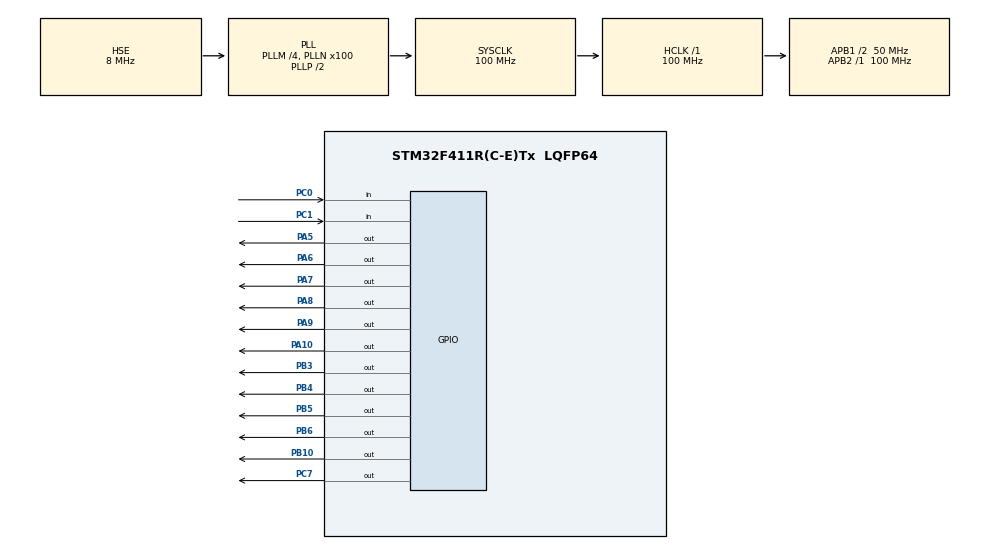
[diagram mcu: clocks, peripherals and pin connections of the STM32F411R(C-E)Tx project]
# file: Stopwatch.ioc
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Mcu.Family=STM32F4
Mcu.Name=STM32F411R(C-E)Tx
Mcu.Package=LQFP64
NVIC.PriorityGroup=NVIC_PRIORITYGROUP_4
PA10.Signal=GPIO_Output
PA5.Signal=GPIO_Output
PA6.Signal=GPIO_Output
PA7.Signal=GPIO_Output
PA8.Signal=GPIO_Output
PA9.Signal=GPIO_Output
PB10.Signal=GPIO_Output
PB3.Signal=GPIO_Output
PB4.Signal=GPIO_Output
PB5.Signal=GPIO_Output
PB6.Signal=GPIO_Output
PC0.Signal=GPIO_Input
PC1.Signal=GPIO_Input
PC7.Signal=GPIO_Output
PH0\ -\ OSC_IN.Mode=HSE-External-Oscillator
PH0\ -\ OSC_IN.Signal=RCC_OSC_IN
PH1\ -\ OSC_OUT.Mode=HSE-External-Oscillator
PH1\ -\ OSC_OUT.Signal=RCC_OSC_OUT
ProjectManager.HeapSize=0x200
ProjectManager.StackSize=0x400
ProjectManager.TargetToolchain=STM32CubeIDE
RCC.48MHZClocksFreq_Value=50000000
RCC.AHBFreq_Value=100000000
RCC.APB1CLKDivider=RCC_HCLK_DIV2
RCC.APB1Freq_Value=50000000
RCC.APB1TimFreq_Value=100000000
RCC.APB2Freq_Value=100000000
RCC.APB2TimFreq_Value=100000000
RCC.CortexFreq_Value=100000000
RCC.HCLKFreq_Value=100000000
RCC.HSE_VALUE=8000000
RCC.HSI_VALUE=16000000
RCC.LSE_VALUE=32768
RCC.PLLM=4
RCC.PLLN=100
RCC.PLLSourceVirtual=RCC_PLLSOURCE_HSE
RCC.SYSCLKFreq_VALUE=100000000
RCC.SYSCLKSource=RCC_SYSCLKSOURCE_PLLCLK
RCC.VCOOutputFreq_Value=200000000
board=custom

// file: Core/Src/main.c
/* USER CODE BEGIN Header */
/**
 ******************************************************************************
 * @file           : main.c
 * @brief          : Main program body
 ******************************************************************************
 * @attention
 *
 * Copyright (c) 2026 STMicroelectronics.
 * All rights reserved.
 *
 * This software is licensed under terms that can be found in the LICENSE file
 * in the root directory of this software component.
 * If no LICENSE file comes with this software, it is provided AS-IS.
 *
 ******************************************************************************
 */
/* USER CODE END Header */
#include "main.h"

/* USER CODE BEGIN Includes */

#include "driver/fnd/fnd.h"

/* USER CODE END Includes */

/* USER CODE BEGIN PD */

#define STOP	0
#define RUN		1
#define CLEAR	2

#define RUN_STOP_GPIO	GPIOC
#define RUN_STOP_PIN	GPIO_PIN_0
#define CLEAR_GPIO		GPIOC
#define CLEAR_PIN		GPIO_PIN_1

/* USER CODE END PD */

void SystemClock_Config(void);
static void MX_GPIO_Init(void);

int main(void) {

	/* MCU Configuration--------------------------------------------------------*/

	/* Reset of all peripherals, Initializes the Flash interface and the Systick. */
	HAL_Init();

	/* Configure the system clock */
	SystemClock_Config();

	/* Initialize all configured peripherals */
	MX_GPIO_Init();

	/* Infinite loop */
	/* USER CODE BEGIN WHILE */
	uint16_t counter = 0;
	uint32_t prevTime = 0;

	int state = STOP;

	while (1) {
		fnd_show_number(counter);

		switch (state) {
		case STOP:
			if (Button_Debouncer(RUN_STOP_BTN)) {
				state = RUN;
				prevTime = HAL_GetTick();
			} else if (Button_Debouncer(CLEAR_BTN)) {
				state = CLEAR;
			}

			break;
		case RUN:
			if (Button_Debouncer(RUN_STOP_BTN)) {
				state = STOP;
			}

			// hal_gettick: 1ms 간격으로 tick 숫자를 셈
			// 시스템에 전원이 인가되면 도는 내부 tick의 카운터임
			if (HAL_GetTick() - prevTime >= 100) {
				prevTime = HAL_GetTick();
				if (counter != 9999) {
					counter++;
				} else {
					counter = 0;
				}
			}

			break;
		case CLEAR:
			counter = 0;
			state = STOP;
			break;
		default:
			state = STOP;
			break;
		}

		/* USER CODE END WHILE */

	}
}

void SystemClock_Config(void) {
	RCC_OscInitTypeDef RCC_OscInitStruct = { 0 };
	RCC_ClkInitTypeDef RCC_ClkInitStruct = { 0 };

	/** Configure the main internal regulator output voltage
	 */
	__HAL_RCC_PWR_CLK_ENABLE();
	__HAL_PWR_VOLTAGESCALING_CONFIG(PWR_REGULATOR_VOLTAGE_SCALE1);

	/** Initializes the RCC Oscillators according to the specified parameters
	 * in the RCC_OscInitTypeDef structure.
	 */
	RCC_OscInitStruct.OscillatorType = RCC_OSCILLATORTYPE_HSE;
	RCC_OscInitStruct.HSEState = RCC_HSE_ON;
	RCC_OscInitStruct.PLL.PLLState = RCC_PLL_ON;
	RCC_OscInitStruct.PLL.PLLSource = RCC_PLLSOURCE_HSE;
	RCC_OscInitStruct.PLL.PLLM = 4;
	RCC_OscInitStruct.PLL.PLLN = 100;
	RCC_OscInitStruct.PLL.PLLP = RCC_PLLP_DIV2;
	RCC_OscInitStruct.PLL.PLLQ = 4;
	if (HAL_RCC_OscConfig(&RCC_OscInitStruct) != HAL_OK) {
		Error_Handler();
	}

	/** Initializes the CPU, AHB and APB buses clocks
	 */
	RCC_ClkInitStruct.ClockType = RCC_CLOCKTYPE_HCLK | RCC_CLOCKTYPE_SYSCLK
			| RCC_CLOCKTYPE_PCLK1 | RCC_CLOCKTYPE_PCLK2;
	RCC_ClkInitStruct.SYSCLKSource = RCC_SYSCLKSOURCE_PLLCLK;
	RCC_ClkInitStruct.AHBCLKDivider = RCC_SYSCLK_DIV1;
	RCC_ClkInitStruct.APB1CLKDivider = RCC_HCLK_DIV2;
	RCC_ClkInitStruct.APB2CLKDivider = RCC_HCLK_DIV1;

	if (HAL_RCC_ClockConfig(&RCC_ClkInitStruct, FLASH_LATENCY_3) != HAL_OK) {
		Error_Handler();
	}
}

static void MX_GPIO_Init(void) {
	GPIO_InitTypeDef GPIO_InitStruct = { 0 };

	/* GPIO Ports Clock Enable */
	__HAL_RCC_GPIOH_CLK_ENABLE();
	__HAL_RCC_GPIOC_CLK_ENABLE();
	__HAL_RCC_GPIOA_CLK_ENABLE();
	__HAL_RCC_GPIOB_CLK_ENABLE();

	/*Configure GPIO pin Output Level */
	HAL_GPIO_WritePin(GPIOA,
			GPIO_PIN_5 | GPIO_PIN_6 | GPIO_PIN_7 | GPIO_PIN_8 | GPIO_PIN_9
					| GPIO_PIN_10, GPIO_PIN_RESET);

	/*Configure GPIO pin Output Level */
	HAL_GPIO_WritePin(GPIOB,
	GPIO_PIN_10 | GPIO_PIN_3 | GPIO_PIN_4 | GPIO_PIN_5 | GPIO_PIN_6,
			GPIO_PIN_RESET);

	/*Configure GPIO pin Output Level */
	HAL_GPIO_WritePin(GPIOC, GPIO_PIN_7, GPIO_PIN_RESET);

	/*Configure GPIO pins : PC0 PC1 */
	GPIO_InitStruct.Pin = GPIO_PIN_0 | GPIO_PIN_1;
	GPIO_InitStruct.Mode = GPIO_MODE_INPUT;
	GPIO_InitStruct.Pull = GPIO_NOPULL;
	HAL_GPIO_Init(GPIOC, &GPIO_InitStruct);

	/*Configure GPIO pins : PA5 PA6 PA7 PA8
	 PA9 PA10 */
	GPIO_InitStruct.Pin = GPIO_PIN_5 | GPIO_PIN_6 | GPIO_PIN_7 | GPIO_PIN_8
			| GPIO_PIN_9 | GPIO_PIN_10;
	GPIO_InitStruct.Mode = GPIO_MODE_OUTPUT_PP;
	GPIO_InitStruct.Pull = GPIO_NOPULL;
	GPIO_InitStruct.Speed = GPIO_SPEED_FREQ_LOW;
	HAL_GPIO_Init(GPIOA, &GPIO_InitStruct);

	/*Configure GPIO pins : PB10 PB3 PB4 PB5
	 PB6 */
	GPIO_InitStruct.Pin = GPIO_PIN_10 | GPIO_PIN_3 | GPIO_PIN_4 | GPIO_PIN_5
			| GPIO_PIN_6;
	GPIO_InitStruct.Mode = GPIO_MODE_OUTPUT_PP;
	GPIO_InitStruct.Pull = GPIO_NOPULL;
	GPIO_InitStruct.Speed = GPIO_SPEED_FREQ_LOW;
	HAL_GPIO_Init(GPIOB, &GPIO_InitStruct);

	/*Configure GPIO pin : PC7 */
	GPIO_InitStruct.Pin = GPIO_PIN_7;
	GPIO_InitStruct.Mode = GPIO_MODE_OUTPUT_PP;
	GPIO_InitStruct.Pull = GPIO_NOPULL;
	GPIO_InitStruct.Speed = GPIO_SPEED_FREQ_LOW;
	HAL_GPIO_Init(GPIOC, &GPIO_InitStruct);

}

void Error_Handler(void) {
	__disable_irq();
	while (1) {
	}
}
